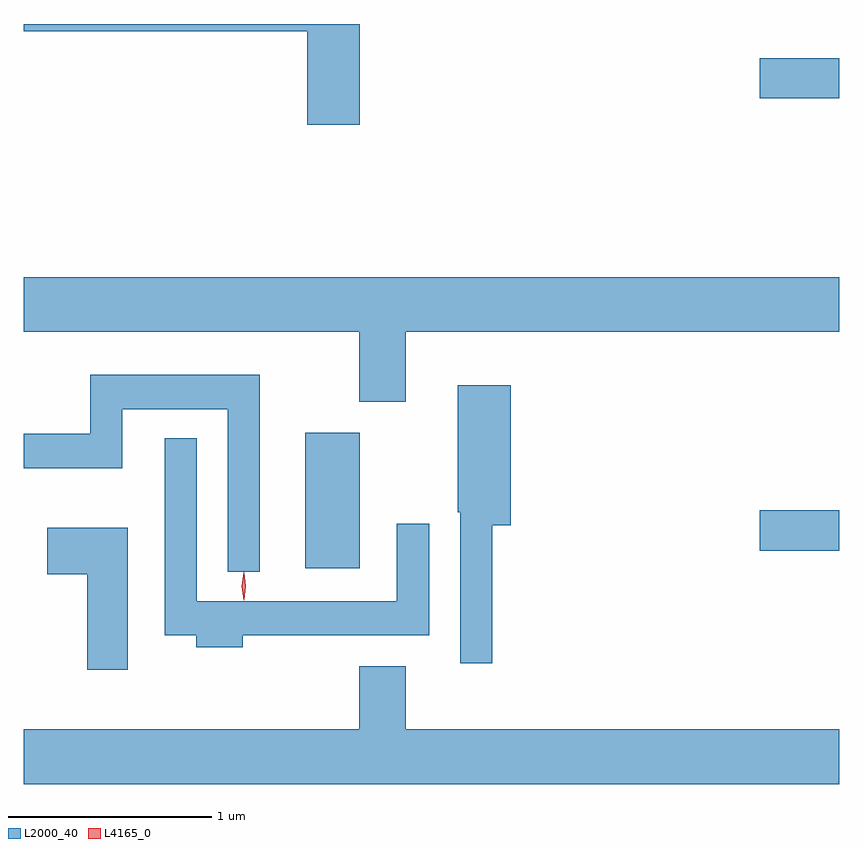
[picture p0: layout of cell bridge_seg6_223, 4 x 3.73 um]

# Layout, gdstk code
import gdstk
lib = gdstk.Library(unit=1e-6, precision=1e-09)
def R(c, l, rs):  # rectangles x0, y0, x1, y1
    for r in rs: c.add(gdstk.rectangle(r[:2], r[2:], *l))
def P(c, l, *ps):  # polygons
    for p in ps: c.add(gdstk.Polygon(p, *l))
L2000_40 = (2000, 40)
L4165_0 = (4165, 0)

bridge_seg6_223 = lib.new_cell('bridge_seg6_223')
R(bridge_seg6_223, L2000_40, [(1128.046,1553.316,1128.314,1553.979), (1130.276,1553.401,1130.666,1553.599), (1130.276,1555.621,1130.666,1555.819)])
P(bridge_seg6_223, L2000_40, [(1128.314,1555.986),(1126.666,1555.986),(1126.666,1555.951),(1128.056,1555.951),(1128.056,1555.491),(1128.314,1555.491)],
  [(1128.539,1554.476),(1130.666,1554.476),(1130.666,1554.744),(1126.666,1554.744),(1126.666,1554.476),(1128.311,1554.476),(1128.311,1554.131),(1128.539,1554.131)],
  [(1127.824,1554.264),(1126.991,1554.264),(1126.991,1553.974),(1126.666,1553.974),(1126.666,1553.806),(1127.149,1553.806),(1127.149,1554.096),(1127.666,1554.096),(1127.666,1553.298),(1127.824,1553.298)],
  [(1128.964,1553.526),(1129.054,1553.526),(1129.054,1554.214),(1128.796,1554.214),(1128.796,1553.59),(1128.806,1553.59),(1128.806,1552.848),(1128.964,1552.848)],
  [(1127.739,1552.986),(1128.654,1552.986),(1128.654,1553.533),(1128.496,1553.533),(1128.496,1553.154),(1127.514,1553.154),(1127.514,1553.953),(1127.356,1553.953),(1127.356,1552.986),(1127.511,1552.986),(1127.511,1552.926),(1127.739,1552.926)],
  [(1127.174,1553.514),(1126.781,1553.514),(1126.781,1553.286),(1126.976,1553.286),(1126.976,1552.816),(1127.174,1552.816)],
  [(1130.666,1552.524),(1128.539,1552.524),(1128.539,1552.834),(1128.311,1552.834),(1128.311,1552.524),(1126.666,1552.524),(1126.666,1552.256),(1130.666,1552.256)])
P(bridge_seg6_223, L4165_0, [(1127.744,1553.157),(1127.735,1553.226),(1127.744,1553.296),(1127.745,1553.296),(1127.745,1553.296),(1127.755,1553.226),(1127.745,1553.157),(1127.745,1553.157)],
  [(1127.745,1553.159),(1127.745,1553.16),(1127.735,1553.226),(1127.745,1553.292),(1127.745,1553.293),(1127.746,1553.292),(1127.755,1553.226),(1127.746,1553.16)])

lib.write_gds('bridge_seg6_223.gds')
